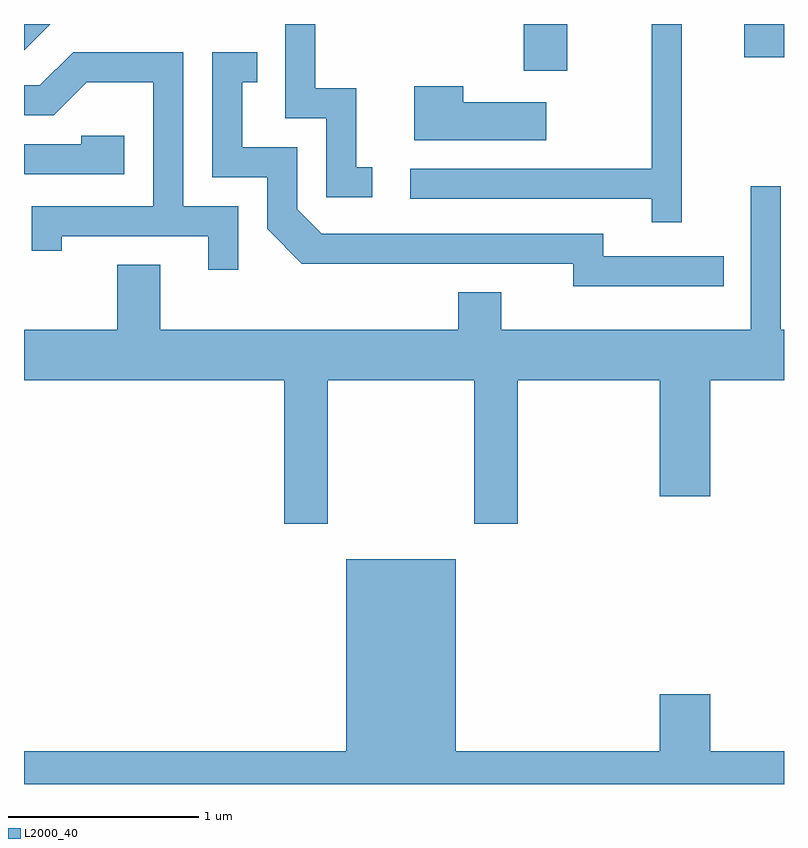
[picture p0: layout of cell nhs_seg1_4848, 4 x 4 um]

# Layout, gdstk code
import gdstk
lib = gdstk.Library(unit=1e-6, precision=1e-09)
def R(c, l, rs):  # rectangles x0, y0, x1, y1
    for r in rs: c.add(gdstk.rectangle(r[:2], r[2:], *l))
def P(c, l, *ps):  # polygons
    for p in ps: c.add(gdstk.Polygon(p, *l))
L2000_40 = (2000, 40)

nhs_seg1_4848 = lib.new_cell('nhs_seg1_4848')
R(nhs_seg1_4848, L2000_40, [(334.241,863.466,334.469,863.712), (335.401,863.536,335.611,863.712)])
P(nhs_seg1_4848, L2000_40, [(335.074,863.712),(334.916,863.712),(334.916,862.949),(333.643,862.949),(333.643,862.791),(334.916,862.791),(334.916,862.668),(335.074,862.668)],
  [(333.443,862.959),(333.359,862.959),(333.359,863.374),(333.144,863.374),(333.144,863.712),(332.986,863.712),(332.986,863.216),(333.201,863.216),(333.201,862.801),(333.443,862.801)],
  [(331.748,863.712),(331.611,863.712),(331.611,863.575)],
  [(332.739,862.754),(332.449,862.754),(332.449,863.564),(331.869,863.564),(331.694,863.389),(331.611,863.389),(331.611,863.231),(331.767,863.231),(331.942,863.406),(332.291,863.406),(332.291,862.754),(331.651,862.754),(331.651,862.518),(331.809,862.518),(331.809,862.596),(332.581,862.596),(332.581,862.418),(332.739,862.418)],
  [(335.293,862.489),(334.659,862.489),(334.659,862.609),(333.177,862.609),(333.049,862.737),(333.049,863.064),(332.759,863.064),(332.759,863.406),(332.838,863.406),(332.838,863.564),(332.601,863.564),(332.601,862.906),(332.891,862.906),(332.891,862.634),(333.074,862.451),(334.501,862.451),(334.501,862.331),(335.293,862.331)],
  [(334.359,863.299),(333.924,863.299),(333.924,863.384),(333.666,863.384),(333.666,863.101),(334.359,863.101)],
  [(332.139,863.124),(331.911,863.124),(331.911,863.079),(331.611,863.079),(331.611,862.921),(332.139,862.921)],
  [(333.209,861.836),(333.981,861.836),(333.981,861.081),(334.209,861.081),(334.209,861.836),(334.956,861.836),(334.956,861.226),(335.224,861.226),(335.224,861.836),(335.611,861.836),(335.611,862.104),(335.594,862.104),(335.594,862.858),(335.436,862.858),(335.436,862.104),(334.124,862.104),(334.124,862.299),(333.896,862.299),(333.896,862.104),(332.329,862.104),(332.329,862.444),(332.101,862.444),(332.101,862.104),(331.611,862.104),(331.611,861.836),(332.981,861.836),(332.981,861.081),(333.209,861.081)],
  [(335.611,859.884),(335.224,859.884),(335.224,860.184),(334.956,860.184),(334.956,859.884),(333.884,859.884),(333.884,860.894),(333.306,860.894),(333.306,859.884),(331.611,859.884),(331.611,859.712),(335.611,859.712)])

lib.write_gds('nhs_seg1_4848.gds')
